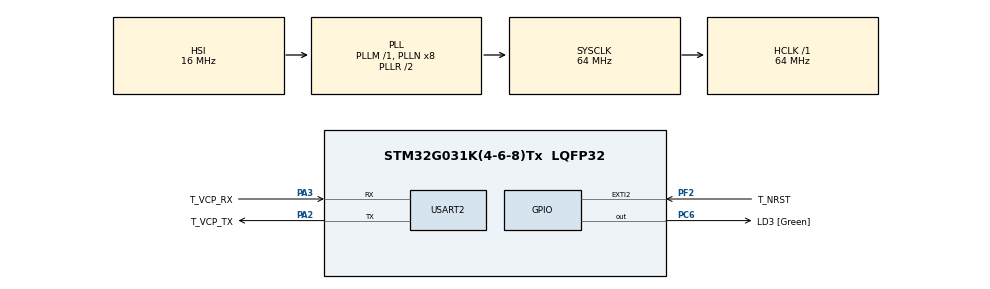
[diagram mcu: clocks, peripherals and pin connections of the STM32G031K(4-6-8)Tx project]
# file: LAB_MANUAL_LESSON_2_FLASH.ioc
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Mcu.Family=STM32G0
Mcu.Name=STM32G031K(4-6-8)Tx
Mcu.Package=LQFP32
PA13.GPIO_Label=T_JTMS
PA13.Mode=Serial_Wire
PA13.Signal=SYS_SWDIO
PA14-BOOT0.GPIO_Label=T_JTCK
PA14-BOOT0.Mode=Serial_Wire
PA14-BOOT0.Signal=SYS_SWCLK
PA2.GPIO_Label=T_VCP_TX
PA2.Mode=Asynchronous
PA2.Signal=USART2_TX
PA3.GPIO_Label=T_VCP_RX
PA3.Mode=Asynchronous
PA3.Signal=USART2_RX
PC14-OSC32_IN\ (PC14).Mode=LSE-External-Oscillator
PC14-OSC32_IN\ (PC14).Signal=RCC_OSC32_IN
PC15-OSC32_OUT\ (PC15).Mode=LSE-External-Oscillator
PC15-OSC32_OUT\ (PC15).Signal=RCC_OSC32_OUT
PC6.GPIO_Label=LD3 [Green]
PC6.Signal=GPIO_Output
PF2\ -\ NRST.GPIO_Label=T_NRST
PF2\ -\ NRST.Signal=GPXTI2
ProjectManager.HeapSize=0x200
ProjectManager.StackSize=0x400
ProjectManager.TargetToolchain=MDK-ARM V5
RCC.ADCFreq_Value=64000000
RCC.AHBFreq_Value=64000000
RCC.CortexFreq_Value=64000000
RCC.EXTERNAL_CLOCK_VALUE=12288000
RCC.HCLKFreq_Value=64000000
RCC.HSE_VALUE=8000000
RCC.HSI_VALUE=16000000
RCC.SYSCLKFreq_VALUE=64000000
RCC.SYSCLKSource=RCC_SYSCLKSOURCE_PLLCLK
RCC.VCOOutputFreq_Value=128000000
USART2.VirtualMode-Asynchronous=VM_ASYNC
USART2.WordLength=WORDLENGTH_8B
board=NUCLEO-G031K8

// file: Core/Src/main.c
/* USER CODE BEGIN Header */
/**
  ******************************************************************************
  * @file           : main.c
  * @brief          : Main program body
  ******************************************************************************
  * @attention
  *
  * <h2><center>&copy; Copyright (c) 2019 STMicroelectronics.
  * All rights reserved.</center></h2>
  *
  * This software component is licensed by ST under BSD 3-Clause license,
  * the "License"; You may not use this file except in compliance with the
  * License. You may obtain a copy of the License at:
  *                        opensource.org/licenses/BSD-3-Clause
  *
  ******************************************************************************
  */
/* USER CODE END Header */

#include "main.h"
#include "usart.h"
#include "gpio.h"

/* USER CODE BEGIN Includes */
#include "flash.h"
/* USER CODE END Includes */

/* USER CODE BEGIN PTD */

#define FLASH_USER_START_ADDR   (FLASH_BASE + (5 * FLASH_PAGE_SIZE))   /* Start @ of user Flash area */
#define FLASH_USER_END_ADDR     (FLASH_BASE + FLASH_SIZE - 1)   /* End @ of user Flash area */

#define DATA_64                 ((uint64_t)0x1234567812345678)
#define DATA_32                 ((uint32_t)0x12345678)

#define LED_ON  do{ HAL_GPIO_WritePin(LD3_GPIO_Port, LD3_Pin, GPIO_PIN_SET);}while(0)
#define LED_OFF do{ HAL_GPIO_WritePin(LD3_GPIO_Port, LD3_Pin, GPIO_PIN_RESET);}while(0)
/* USER CODE END PTD */

/* USER CODE BEGIN PM */
uint32_t testValue __attribute__((at(FLASH_USER_START_ADDR))) = 0xAABB55AA;
/* USER CODE END PM */

/* USER CODE BEGIN PV */
uint32_t FirstPage = 0, NbOfPages = 0;
uint32_t Address = 0, PageError = 0;
__IO uint32_t data32 = 0 , MemoryProgramStatus = 0;
__IO uint8_t data8[4] = {0X00};
uint8_t test_data8[4];
static FLASH_EraseInitTypeDef EraseInitStruct = {0};
/* USER CODE END PV */

void SystemClock_Config(void);
/* USER CODE BEGIN PFP */
static uint32_t GetPage(uint32_t Addr);
void System_On_test(void);
/* USER CODE END PFP */

int main(void)
{

    /* MCU Configuration--------------------------------------------------------*/

    /* Reset of all peripherals, Initializes the Flash interface and the Systick. */
    HAL_Init();

    /* Configure the system clock */
    SystemClock_Config();

    /* Initialize all configured peripherals */
    MX_GPIO_Init();
    MX_USART2_UART_Init();

    /* USER CODE BEGIN 2 */
    System_On_test();

		PRINTF("This is Test For Flash\r\n");

    FLASH_Init();

		FLASH_ReadnBytes(FLASH_USER_START_ADDR,test_data8,4);
		data32 = ((uint32_t)test_data8[3] << 24) | ((uint32_t)test_data8[2] << 16) | ((uint32_t)test_data8[1] << 8) | ((uint32_t)test_data8[0]);
		PRINTF("0x%x \r\n",data32);

    //************************Flash ��������************************************//
    HAL_FLASH_Unlock();
    FirstPage = GetPage(FLASH_USER_START_ADDR);
    NbOfPages = GetPage(FLASH_USER_END_ADDR) - FirstPage + 1;

    EraseInitStruct.TypeErase   = FLASH_TYPEERASE_PAGES;
    EraseInitStruct.Page        = FirstPage;
    EraseInitStruct.NbPages     = NbOfPages;
    if (HAL_FLASHEx_Erase(&EraseInitStruct, &PageError) != HAL_OK)
    {
        while (1)
        {
            /* Make LED3 blink (100ms on, 2s off) to indicate error in Erase operation */
            LED_ON;
            HAL_Delay(100);
            LED_OFF;
            HAL_Delay(2000);
        }
    }
    HAL_FLASH_Lock();
    //while(1);
    //****************************************************************//

    //************************Flash д����************************************//
		HAL_FLASH_Unlock();
    Address = FLASH_USER_START_ADDR;
    while (Address < FLASH_USER_END_ADDR)
    {
        if (HAL_FLASH_Program(FLASH_TYPEPROGRAM_DOUBLEWORD, Address, DATA_64) == HAL_OK)
        {
            Address = Address + 8;
        }
        else
        {
            while (1)
            {
                LED_ON;
                HAL_Delay(100);
                LED_OFF;
                HAL_Delay(2000);
            }
        }
    }
    HAL_FLASH_Lock();
		//while(1);
		//****************************************************************//

		//************************Flash ������************************************//
    Address = FLASH_USER_START_ADDR;
    MemoryProgramStatus = 0x0;

    while (Address < FLASH_USER_END_ADDR)
    {
			#if 0
        data32 =FLASH_ReadDword(Address);
        if (data32 != DATA_32)
        {
            MemoryProgramStatus++;
        }
        Address = Address + 4;
				PRINTF("0x%x ",data32);
			#else
			  data8[0] =FLASH_ReadOneByte(Address);
				data8[1] =FLASH_ReadOneByte(Address + 1);
				data8[2] =FLASH_ReadOneByte(Address + 2);
				data8[3] =FLASH_ReadOneByte(Address + 3);
			  data32 = ((uint32_t)data8[3] << 24) | ((uint32_t)data8[2] << 16) | ((uint32_t)data8[1] << 8) | ((uint32_t)data8[0]);
        if (data32 != DATA_32)
        {
            MemoryProgramStatus++;
        }
        Address = Address + 4;
				PRINTF("0x%x ",data32);
			#endif

    }
    if (MemoryProgramStatus == 0)
    {
        LED_ON;
    }
    else
    {
        while (1)
        {
            LED_ON;
            HAL_Delay(100);
            LED_OFF;
            HAL_Delay(2000);
        }
    }
	 //****************************************************************//
    /* USER CODE END 2 */

    /* Infinite loop */
    while (1)
    {

    }
}

void SystemClock_Config(void)
{
    RCC_OscInitTypeDef RCC_OscInitStruct = {0};
    RCC_ClkInitTypeDef RCC_ClkInitStruct = {0};

    /** Configure the main internal regulator output voltage
    */
    HAL_PWREx_ControlVoltageScaling(PWR_REGULATOR_VOLTAGE_SCALE1);
    /** Initializes the CPU, AHB and APB busses clocks
    */
    RCC_OscInitStruct.OscillatorType = RCC_OSCILLATORTYPE_HSI;
    RCC_OscInitStruct.HSIState = RCC_HSI_ON;
    RCC_OscInitStruct.HSIDiv = RCC_HSI_DIV1;
    RCC_OscInitStruct.HSICalibrationValue = RCC_HSICALIBRATION_DEFAULT;
    RCC_OscInitStruct.PLL.PLLState = RCC_PLL_ON;
    RCC_OscInitStruct.PLL.PLLSource = RCC_PLLSOURCE_HSI;
    RCC_OscInitStruct.PLL.PLLM = RCC_PLLM_DIV1;
    RCC_OscInitStruct.PLL.PLLN = 8;
    RCC_OscInitStruct.PLL.PLLP = RCC_PLLP_DIV2;
    RCC_OscInitStruct.PLL.PLLQ = RCC_PLLQ_DIV2;
    RCC_OscInitStruct.PLL.PLLR = RCC_PLLR_DIV2;
    if (HAL_RCC_OscConfig(&RCC_OscInitStruct) != HAL_OK)
    {
        Error_Handler();
    }
    /** Initializes the CPU, AHB and APB busses clocks
    */
    RCC_ClkInitStruct.ClockType = RCC_CLOCKTYPE_HCLK | RCC_CLOCKTYPE_SYSCLK
                                  | RCC_CLOCKTYPE_PCLK1;
    RCC_ClkInitStruct.SYSCLKSource = RCC_SYSCLKSOURCE_PLLCLK;
    RCC_ClkInitStruct.AHBCLKDivider = RCC_SYSCLK_DIV1;
    RCC_ClkInitStruct.APB1CLKDivider = RCC_HCLK_DIV1;

    if (HAL_RCC_ClockConfig(&RCC_ClkInitStruct, FLASH_LATENCY_2) != HAL_OK)
    {
        Error_Handler();
    }
}

/* USER CODE BEGIN 4 */
void System_On_test(void)
{
    for(uint8_t i = 0; i < 3; i++)
    {
        HAL_GPIO_WritePin(LD3_GPIO_Port, LD3_Pin, GPIO_PIN_RESET);
        HAL_Delay(1000);
        HAL_GPIO_WritePin(LD3_GPIO_Port, LD3_Pin, GPIO_PIN_SET);
        HAL_Delay(1000);
    }

}

/**
  * @brief  Gets the page of a given address
  * @param  Addr: Address of the FLASH Memory
  * @retval The page of a given address
  */
static uint32_t GetPage(uint32_t Addr)
{
    return (Addr - FLASH_BASE) / FLASH_PAGE_SIZE;;
}
/* USER CODE END 4 */

void Error_Handler(void)
{
    /* USER CODE BEGIN Error_Handler_Debug */
    /* User can add his own implementation to report the HAL error return state */
    while(1);
    /* USER CODE END Error_Handler_Debug */
}

#ifdef  USE_FULL_ASSERT
/**
  * @brief  Reports the name of the source file and the source line number
  *         where the assert_param error has occurred.
  * @param  file: pointer to the source file name
  * @param  line: assert_param error line source number
  * @retval None
  */
void assert_failed(uint8_t *file, uint32_t line)
{
    /* USER CODE BEGIN 6 */
    PRINTF("Wrong parameters value: file %s on line %d\r\n", file, line);
    /* User can add his own implementation to report the file name and line number,
       tex: printf("Wrong parameters value: file %s on line %d\r\n", file, line) */
    /* USER CODE END 6 */
}
#endif /* USE_FULL_ASSERT */

/************************ (C) COPYRIGHT STMicroelectronics *****END OF FILE****/
